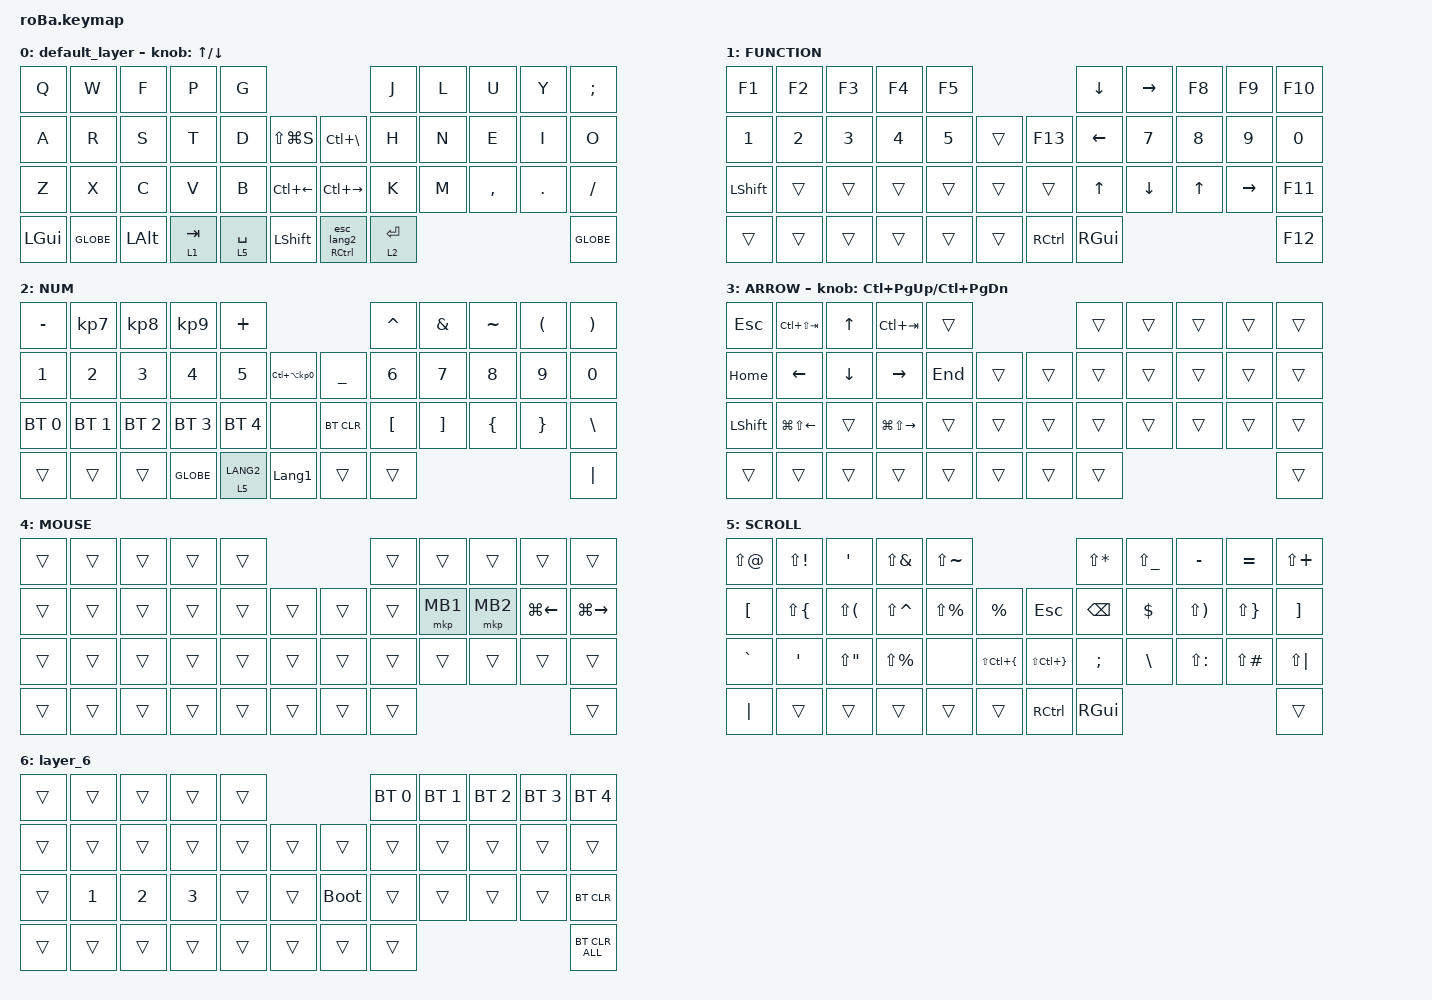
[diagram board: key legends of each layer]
#include <input/processors.dtsi>
#include <behaviors.dtsi>
#include <dt-bindings/zmk/bt.h>
#include <dt-bindings/zmk/keys.h>
#include <dt-bindings/zmk/pointing.h>

&mkp_input_listener { input-processors = <&zip_temp_layer 4 250>; };

&mt {
    flavor = "balanced";
    quick-tap-ms = <0>;
};

&trackball {
    automouse-layer = <4>;
    scroll-layers = <5>;

    // arrows {
    //     layers = <3>;
    //     bindings =
    //         <&kp RIGHT_ARROW>,
    //         <&kp LEFT_ARROW>,
    //         <&kp UP_ARROW>,
    //         <&kp DOWN_ARROW>;
    //     tick = <10>;
    //     wait-ms = <5>;
    //     tap-ms = <5>;
    // };
};

/ {
    combos {
        compatible = "zmk,combos";

        tab {
            bindings = <&kp TAB>;
            key-positions = <11 12>;
        };

        shift_tab {
            bindings = <&kp LS(TAB)>;
            key-positions = <12 13>;
        };

        muhennkann {
            bindings = <&to_layer_0 INT_MUHENKAN>;
            key-positions = <11 10>;
        };

        double_quotation {
            bindings = <&kp DOUBLE_QUOTES>;
            key-positions = <20 21>;
        };

        eq {
            bindings = <&kp EQUAL>;
            key-positions = <24 25>;
        };
    };

    macros {
        to_layer_0: to_layer_0 {
            compatible = "zmk,behavior-macro-one-param";
            #binding-cells = <1>;
            bindings = <&to 0 &macro_param_1to1 &kp MACRO_PLACEHOLDER>;
            label = "TO_LAYER_0";
        };

        esc_lang2: new_macro {
            compatible = "zmk,behavior-macro";
            #binding-cells = <0>;
            bindings = <&kp ESC &kp LANGUAGE_2>;
            label = "NEW_MACRO";
        };
    };

    behaviors {
        lt_to_layer_0: lt_to_layer_0 {
            compatible = "zmk,behavior-hold-tap";
            label = "LAYER_TAP_TO_0";
            bindings = <&mo>, <&to_layer_0>;

            #binding-cells = <2>;
            tapping-term-ms = <200>;
        };

        mt_esc_lang2: mt_esc_lang2 {
            compatible = "zmk,behavior-hold-tap";
            label = "MT_ESC_LANG2";
            bindings = <&kp>, <&esc_lang2>;

            #binding-cells = <2>;
            tapping-term-ms = <200>;
        };
    };

    keymap {
        compatible = "zmk,keymap";

        default_layer {
            bindings = <
&kp Q         &kp W      &kp F         &kp P      &kp G                                                   &kp J        &kp L  &kp U      &kp Y    &kp SEMI
&kp A         &kp R      &kp S         &kp T      &kp D        &kp LS(LG(S))       &kp LC(BACKSLASH)      &kp H        &kp N  &kp E      &kp I    &kp O
&kp Z         &kp X      &kp C         &kp V      &kp B        &kp LC(LEFT)        &kp LC(RIGHT)          &kp K        &kp M  &kp COMMA  &kp DOT  &kp SLASH
&kp LEFT_GUI  &kp GLOBE  &kp LEFT_ALT  &lt 1 TAB  &lt 5 SPACE  &kp LEFT_SHIFT      &mt_esc_lang2 RCTRL 0  &lt 2 ENTER                             &kp GLOBE
            >;

            sensor-bindings = <&inc_dec_kp UP DOWN>;
        };

        FUNCTION {
            bindings = <
&kp F1          &kp F2        &kp F3        &kp F4        &kp F5                         &kp DOWN_ARROW  &kp RIGHT  &kp F8  &kp F9     &kp F10
&kp NUMBER_1    &kp NUMBER_2  &kp NUMBER_3  &kp NUMBER_4  &kp N5  &trans      &kp F13    &kp LEFT        &kp N7     &kp N8  &kp N9     &kp N0
&kp LEFT_SHIFT  &trans        &trans        &trans        &trans  &trans      &trans     &kp UP_ARROW    &kp DOWN   &kp UP  &kp RIGHT  &kp F11
&trans          &trans        &trans        &trans        &trans  &trans      &kp RCTRL  &kp RIGHT_GUI                                 &kp F12
            >;
        };

        NUM {
            bindings = <
&kp MINUS     &kp KP_NUMBER_7  &kp KP_NUMBER_8  &kp KP_NUMBER_9  &kp PLUS                                                   &kp CARET         &kp AMPERSAND      &kp TILDE       &kp LEFT_PARENTHESIS  &kp RIGHT_PARENTHESIS
&kp NUMBER_1  &kp NUMBER_2     &kp NUMBER_3     &kp NUMBER_4     &kp N5        &kp LC(LA(KP_NUMBER_0))      &kp UNDERSCORE  &kp NUMBER_6      &kp N7             &kp N8          &kp N9                &kp N0
&bt BT_SEL 0  &bt BT_SEL 1     &bt BT_SEL 2     &bt BT_SEL 3     &bt BT_SEL 4  &none                        &bt BT_CLR      &kp LEFT_BRACKET  &kp RIGHT_BRACKET  &kp LEFT_BRACE  &kp RIGHT_BRACE       &kp BACKSLASH
&trans        &trans           &trans           &kp GLOBE        &lt 5 LANG2   &kp LANGUAGE_1               &trans          &trans                                                                     &kp PIPE
            >;
        };

        ARROW {
            bindings = <
&kp ESCAPE      &kp LC(LS(TAB))         &kp UP_ARROW    &kp LC(TAB)              &trans                       &trans  &trans  &trans  &trans  &trans
&kp HOME        &kp LEFT_ARROW          &kp DOWN_ARROW  &kp RIGHT_ARROW          &kp END  &trans      &trans  &trans  &trans  &trans  &trans  &trans
&kp LEFT_SHIFT  &kp LG(LS(LEFT_ARROW))  &trans          &kp LG(LS(RIGHT_ARROW))  &trans   &trans      &trans  &trans  &trans  &trans  &trans  &trans
&trans          &trans                  &trans          &trans                   &trans   &trans      &trans  &trans                          &trans
            >;

            sensor-bindings = <&inc_dec_kp LC(PAGE_UP) LC(PAGE_DOWN)>;
        };

        MOUSE {
            bindings = <
&trans  &trans  &trans  &trans  &trans                      &trans  &trans    &trans    &trans        &trans
&trans  &trans  &trans  &trans  &trans  &trans      &trans  &trans  &mkp MB1  &mkp MB2  &kp LG(LEFT)  &kp LG(RIGHT)
&trans  &trans  &trans  &trans  &trans  &trans      &trans  &trans  &trans    &trans    &trans        &trans
&trans  &trans  &trans  &trans  &trans  &trans      &trans  &trans                                    &trans
            >;
        };

        SCROLL {
            bindings = <
&kp LS(AT)        &kp LS(EXCL)  &kp SQT       &kp LS(AMPS)   &kp LS(TILDE)                                          &kp LS(STAR)   &kp LS(UNDER)  &kp MINUS      &kp EQUAL      &kp LS(PLUS)
&kp LEFT_BRACKET  &kp LS(LBRC)  &kp LS(LPAR)  &kp LS(CARET)  &kp LS(PRCNT)  &kp PRCNT             &kp ESC           &kp BSPC       &kp DOLLAR     &kp LS(RPAR)   &kp LS(RBRC)   &kp RBKT
&kp GRAVE         &kp SQT       &kp LS(DQT)   &kp LS(PRCNT)  &none          &kp LS(LC(LBRC))      &kp LS(LC(RBRC))  &kp SEMI       &kp BSLH       &kp LS(COLON)  &kp LS(POUND)  &kp LS(PIPE)
&kp PIPE          &trans        &trans        &trans         &trans         &trans                &kp RCTRL         &kp RIGHT_GUI                                               &trans
            >;
        };

        layer_6 {
            bindings = <
&trans  &trans        &trans        &trans        &trans                           &bt BT_SEL 0  &bt BT_SEL 1  &bt BT_SEL 2  &bt BT_SEL 3  &bt BT_SEL 4
&trans  &trans        &trans        &trans        &trans  &trans      &trans       &trans        &trans        &trans        &trans        &trans
&trans  &kp NUMBER_1  &kp NUMBER_2  &kp NUMBER_3  &trans  &trans      &bootloader  &trans        &trans        &trans        &trans        &bt BT_CLR
&trans  &trans        &trans        &trans        &trans  &trans      &trans       &trans                                                  &bt BT_CLR_ALL
            >;
        };
    };
};
